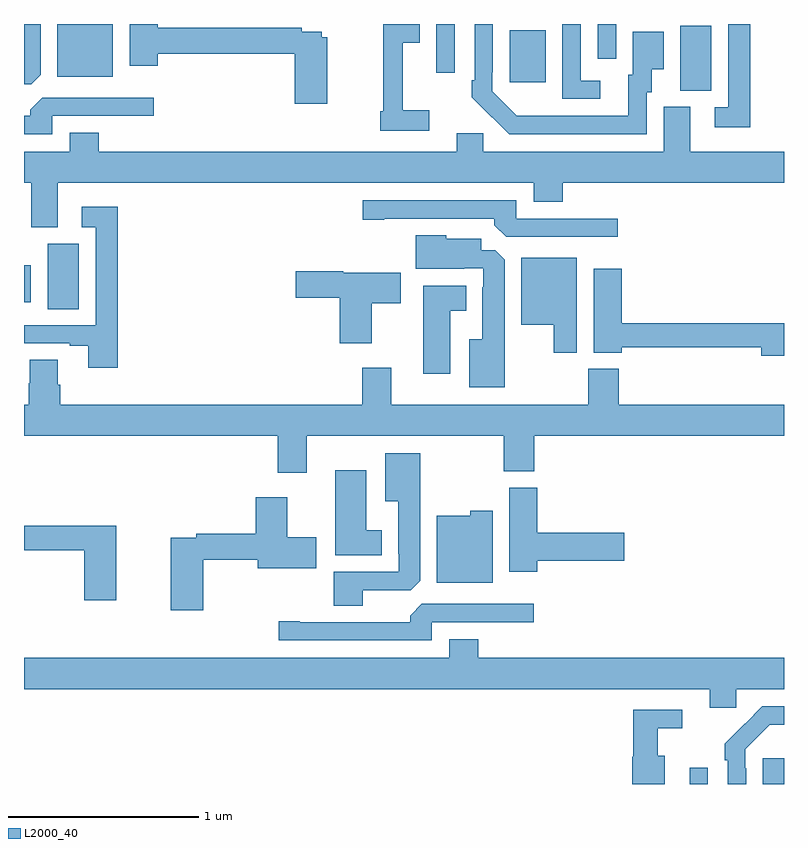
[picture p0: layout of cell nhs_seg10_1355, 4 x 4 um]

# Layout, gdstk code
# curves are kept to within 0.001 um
import gdstk
lib = gdstk.Library(unit=1e-6, precision=1e-09)
def R(c, l, rs):  # rectangles x0, y0, x1, y1
    for r in rs: c.add(gdstk.rectangle(r[:2], r[2:], *l))
def P(c, l, *ps):  # polygons
    for p in ps: c.add(gdstk.Polygon(p, *l))
L2000_40 = (2000, 40)

nhs_seg10_1355 = lib.new_cell('nhs_seg10_1355')
R(nhs_seg10_1355, L2000_40, [(184.503,1282.5,184.599,1282.585), (184.889,1282.5,185,1282.636), (181.124,1285,181.288,1285.344), (181,1285.035,181.036,1285.231), (184.454,1286.149,184.618,1286.492), (183.557,1286.193,183.745,1286.467), (181.175,1286.222,181.468,1286.5), (183.171,1286.244,183.267,1286.5), (184.02,1286.316,184.116,1286.5)])
P(nhs_seg10_1355, L2000_40, [(182.596,1286.431),(182.566,1286.431),(182.566,1286.46),(182.462,1286.46),(182.462,1286.48),(181.703,1286.48),(181.703,1286.5),(181.556,1286.5),(181.556,1286.28),(181.703,1286.28),(181.703,1286.344),(182.426,1286.344),(182.426,1286.079),(182.596,1286.079)],
  [(183.133,1286.047),(182.993,1286.047),(182.993,1286.402),(183.082,1286.402),(183.082,1286.5),(182.89,1286.5),(182.89,1286.041),(182.875,1286.041),(182.875,1285.938),(183.133,1285.938)],
  [(181.087,1286.233),(181.087,1286.5),(181,1286.5),(181,1286.184),(181.038,1286.184)],
  [(184.033,1286.202),(183.93,1286.202),(183.93,1286.5),(183.834,1286.5),(183.834,1286.106),(184.033,1286.106)],
  [(184.278,1286.142),(184.303,1286.142),(184.303,1286.261),(184.366,1286.261),(184.366,1286.458),(184.205,1286.458),(184.205,1286.232),(184.181,1286.232),(184.181,1286.016),(183.594,1286.017),(183.465,1286.145),(183.465,1286.245),(183.468,1286.245),(183.468,1286.5),(183.372,1286.5),(183.372,1286.203),(183.357,1286.203),(183.357,1286.115),(183.554,1285.92),(184.278,1285.92)],
  [(184.823,1286.5),(184.707,1286.5),(184.707,1286.061),(184.635,1286.061),(184.635,1285.956),(184.823,1285.956)],
  [(181.149,1286.016),(181.684,1286.016),(181.684,1286.112),(181.095,1286.112),(181.034,1286.05),(181.034,1286.016),(181,1286.016),(181,1285.92),(181.149,1285.92)],
  [(183.417,1285.926),(183.278,1285.926),(183.278,1285.828),(181.394,1285.828),(181.394,1285.927),(181.241,1285.927),(181.241,1285.828),(181,1285.828),(181,1285.664),(181.037,1285.664),(181.037,1285.429),(181.177,1285.429),(181.177,1285.664),(183.683,1285.664),(183.683,1285.565),(183.836,1285.565),(183.836,1285.664),(185,1285.664),(185,1285.828),(184.507,1285.828),(184.507,1286.064),(184.367,1286.064),(184.367,1285.828),(183.417,1285.828)],
  [(184.126,1285.476),(183.591,1285.476),(183.591,1285.572),(182.784,1285.572),(182.784,1285.471),(182.896,1285.471),(182.896,1285.476),(183.476,1285.476),(183.476,1285.442),(183.537,1285.38),(184.126,1285.38)],
  [(181.493,1285.537),(181.305,1285.537),(181.305,1285.431),(181.377,1285.431),(181.377,1284.915),(181,1284.915),(181,1284.819),(181.241,1284.819),(181.241,1284.807),(181.337,1284.807),(181.337,1284.69),(181.493,1284.69)],
  [(183.529,1285.259),(183.48,1285.308),(183.406,1285.308),(183.406,1285.369),(183.222,1285.369),(183.222,1285.387),(183.062,1285.387),(183.062,1285.211),(183.317,1285.211),(183.317,1285.215),(183.417,1285.215),(183.417,1285.115),(183.413,1285.115),(183.413,1284.841),(183.344,1284.841),(183.344,1284.587),(183.529,1284.587)],
  [(183.91,1285.27),(183.617,1285.27),(183.617,1284.917),(183.788,1284.917),(183.788,1284.771),(183.91,1284.771)],
  [(185,1284.926),(184.145,1284.926),(184.145,1285.213),(183.998,1285.213),(183.998,1284.77),(184.145,1284.77),(184.145,1284.798),(184.88,1284.798),(184.88,1284.755),(185,1284.755)],
  [(182.83,1285.03),(182.983,1285.03),(182.983,1285.192),(182.679,1285.192),(182.679,1285.2),(182.43,1285.2),(182.43,1285.058),(182.663,1285.058),(182.663,1284.819),(182.83,1284.819)],
  [(183.244,1284.992),(183.328,1284.992),(183.328,1285.123),(183.101,1285.123),(183.101,1284.66),(183.244,1284.66)],
  [(182.488,1284.332),(183.526,1284.332),(183.526,1284.145),(183.686,1284.145),(183.686,1284.332),(185,1284.332),(185,1284.496),(184.13,1284.496),(184.13,1284.685),(183.97,1284.685),(183.97,1284.496),(182.932,1284.496),(182.932,1284.691),(182.78,1284.691),(182.78,1284.496),(181.19,1284.496),(181.19,1284.602),(181.177,1284.602),(181.177,1284.734),(181.03,1284.734),(181.03,1284.609),(181.025,1284.609),(181.025,1284.496),(181,1284.496),(181,1284.332),(182.336,1284.332),(182.336,1284.138),(182.488,1284.138)],
  [(182.782,1283.52),(183.036,1283.52),(183.085,1283.569),(183.085,1284.241),(182.9,1284.241),(182.9,1283.987),(182.969,1283.987),(182.969,1283.713),(182.973,1283.713),(182.973,1283.616),(182.63,1283.616),(182.63,1283.437),(182.782,1283.437)],
  [(182.884,1283.836),(182.8,1283.836),(182.8,1284.151),(182.639,1284.151),(182.639,1283.705),(182.884,1283.705)],
  [(183.701,1283.675),(184.159,1283.675),(184.159,1283.822),(183.701,1283.822),(183.701,1284.06),(183.554,1284.06),(183.554,1283.616),(183.701,1283.616)],
  [(181.943,1283.68),(182.231,1283.68),(182.231,1283.636),(182.539,1283.636),(182.539,1283.799),(182.386,1283.799),(182.386,1284.01),(182.219,1284.01),(182.219,1283.816),(181.906,1283.816),(181.906,1283.796),(181.772,1283.796),(181.772,1283.415),(181.943,1283.415)],
  [(183.466,1283.938),(183.348,1283.938),(183.348,1283.911),(183.173,1283.911),(183.173,1283.558),(183.466,1283.558)],
  [(181.486,1283.86),(181,1283.86),(181,1283.731),(181.316,1283.731),(181.316,1283.466),(181.486,1283.466)],
  [(183.147,1283.352),(183.682,1283.352),(183.682,1283.448),(183.093,1283.448),(183.032,1283.386),(183.032,1283.352),(182.452,1283.352),(182.452,1283.357),(182.34,1283.357),(182.34,1283.256),(183.147,1283.256)],
  [(184.749,1283),(185,1283),(185,1283.164),(183.392,1283.164),(183.392,1283.263),(183.239,1283.263),(183.239,1283.164),(181,1283.164),(181,1283),(184.61,1283),(184.61,1282.902),(184.749,1282.902)],
  [(184.8,1282.583),(184.797,1282.583),(184.797,1282.683),(184.926,1282.812),(185,1282.812),(185,1282.908),(184.886,1282.908),(184.689,1282.713),(184.689,1282.625),(184.704,1282.625),(184.704,1282.5),(184.8,1282.5)],
  [(184.372,1282.648),(184.336,1282.648),(184.336,1282.793),(184.465,1282.793),(184.465,1282.89),(184.207,1282.89),(184.207,1282.644),(184.202,1282.644),(184.202,1282.5),(184.372,1282.5)])

lib.write_gds('nhs_seg10_1355.gds')
